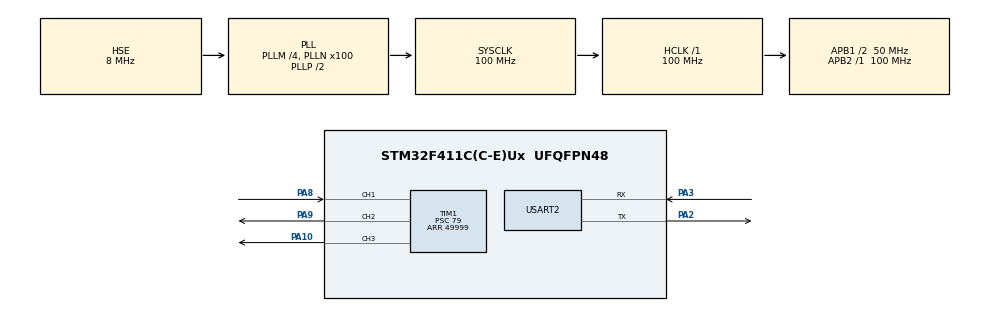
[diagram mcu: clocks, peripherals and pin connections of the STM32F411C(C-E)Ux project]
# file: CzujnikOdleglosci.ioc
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Mcu.Family=STM32F4
Mcu.Name=STM32F411C(C-E)Ux
Mcu.Package=UFQFPN48
NVIC.PriorityGroup=NVIC_PRIORITYGROUP_4
NVIC.TIM1_BRK_TIM9_IRQn=true\:0\:0\:false\:false\:true\:true\:true
NVIC.TIM1_CC_IRQn=true\:0\:0\:false\:false\:true\:true\:true
NVIC.TIM1_TRG_COM_TIM11_IRQn=true\:0\:0\:false\:false\:true\:true\:true
NVIC.TIM1_UP_TIM10_IRQn=true\:0\:0\:false\:false\:true\:true\:true
PA10.Signal=S_TIM1_CH3
PA2.Mode=Asynchronous
PA2.Signal=USART2_TX
PA3.Mode=Asynchronous
PA3.Signal=USART2_RX
PA8.Signal=S_TIM1_CH1
PA9.Signal=S_TIM1_CH2
PC14-OSC32_IN.Mode=LSE-External-Oscillator
PC14-OSC32_IN.Signal=RCC_OSC32_IN
PC15-OSC32_OUT.Mode=LSE-External-Oscillator
PC15-OSC32_OUT.Signal=RCC_OSC32_OUT
PH0\ -\ OSC_IN.Mode=HSE-External-Oscillator
PH0\ -\ OSC_IN.Signal=RCC_OSC_IN
PH1\ -\ OSC_OUT.Mode=HSE-External-Oscillator
PH1\ -\ OSC_OUT.Signal=RCC_OSC_OUT
ProjectManager.HeapSize=0x200
ProjectManager.StackSize=0x400
ProjectManager.TargetToolchain=STM32CubeIDE
RCC.48MHZClocksFreq_Value=50000000
RCC.AHBFreq_Value=100000000
RCC.APB1CLKDivider=RCC_HCLK_DIV2
RCC.APB1Freq_Value=50000000
RCC.APB1TimFreq_Value=100000000
RCC.APB2Freq_Value=100000000
RCC.APB2TimFreq_Value=100000000
RCC.CortexFreq_Value=100000000
RCC.HCLKFreq_Value=100000000
RCC.HSE_VALUE=8000000
RCC.HSI_VALUE=16000000
RCC.PLLM=4
RCC.PLLN=100
RCC.PLLSourceVirtual=RCC_PLLSOURCE_HSE
RCC.SYSCLKFreq_VALUE=100000000
RCC.SYSCLKSource=RCC_SYSCLKSOURCE_PLLCLK
RCC.VCOOutputFreq_Value=200000000
SH.S_TIM1_CH1.0=TIM1_CH1,Input_Capture1_from_TI1
SH.S_TIM1_CH2.0=TIM1_CH2,Output Compare2 CH2
SH.S_TIM1_CH3.0=TIM1_CH3,PWM Generation3 CH3
TIM1.Channel-Input_Capture1_from_TI1=TIM_CHANNEL_1
TIM1.Channel-Output\ Compare2\ CH2=TIM_CHANNEL_2
TIM1.Channel-PWM\ Generation3\ CH3=TIM_CHANNEL_3
TIM1.ICPolarity_CH1=TIM_INPUTCHANNELPOLARITY_BOTHEDGE
TIM1.Period=49999
TIM1.Prescaler=79
TIM10.Period=49999
TIM10.Prescaler=1999
USART2.VirtualMode=VM_ASYNC
VP_TIM10_VS_ClockSourceINT.Mode=Enable_Timer
VP_TIM1_VS_ClockSourceINT.Mode=Internal
board=custom

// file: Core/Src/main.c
/* USER CODE BEGIN Header */
/**
  ******************************************************************************
  * @file           : main.c
  * @brief          : Main program body
  ******************************************************************************
  * @attention
  *
  * <h2><center>&copy; Copyright (c) 2021 STMicroelectronics.
  * All rights reserved.</center></h2>
  *
  * This software component is licensed by ST under BSD 3-Clause license,
  * the "License"; You may not use this file except in compliance with the
  * License. You may obtain a copy of the License at:
  *                        opensource.org/licenses/BSD-3-Clause
  *
  ******************************************************************************
  */
/* USER CODE END Header */
#include "main.h"
#include "tim.h"
#include "usart.h"
#include "gpio.h"

/* USER CODE BEGIN PV */

float time = 0;
float d = 0;
int di = 0;
int Difference = 0;
char str[15];
uint8_t Is_First_Capture = 0;
int IC_Value1 = 0;
int IC_Value2 = 0;

float rest = 0;
int TurnInt = 0;
/* USER CODE END PV */

void SystemClock_Config(void);

int main(void)
{

  /* MCU Configuration--------------------------------------------------------*/

  /* Reset of all peripherals, Initializes the Flash interface and the Systick. */
  HAL_Init();

  /* Configure the system clock */
  SystemClock_Config();

  /* Initialize all configured peripherals */
  MX_GPIO_Init();
  MX_TIM1_Init();
  MX_TIM10_Init();
  MX_USART2_UART_Init();
  /* USER CODE BEGIN 2 */

  HAL_TIM_PWM_Start(&htim1, TIM_CHANNEL_3);	//initialization starting PWM
  __HAL_TIM_SET_COMPARE(&htim1, TIM_CHANNEL_3, 13); //high state: 10 us

  HAL_TIM_Base_Start_IT(&htim10); //initialization TIM10 period interrupt

  HAL_TIM_IC_Start_IT(&htim1, TIM_CHANNEL_1);	//initialization capturing in TIM1 channel_1

  /* USER CODE END 2 */

  /* Infinite loop */
  while (1)
  {

  }
}

void SystemClock_Config(void)
{
  RCC_OscInitTypeDef RCC_OscInitStruct = {0};
  RCC_ClkInitTypeDef RCC_ClkInitStruct = {0};

  /** Configure the main internal regulator output voltage
  */
  __HAL_RCC_PWR_CLK_ENABLE();
  __HAL_PWR_VOLTAGESCALING_CONFIG(PWR_REGULATOR_VOLTAGE_SCALE1);
  /** Initializes the RCC Oscillators according to the specified parameters
  * in the RCC_OscInitTypeDef structure.
  */
  RCC_OscInitStruct.OscillatorType = RCC_OSCILLATORTYPE_HSE;
  RCC_OscInitStruct.HSEState = RCC_HSE_ON;
  RCC_OscInitStruct.PLL.PLLState = RCC_PLL_ON;
  RCC_OscInitStruct.PLL.PLLSource = RCC_PLLSOURCE_HSE;
  RCC_OscInitStruct.PLL.PLLM = 4;
  RCC_OscInitStruct.PLL.PLLN = 100;
  RCC_OscInitStruct.PLL.PLLP = RCC_PLLP_DIV2;
  RCC_OscInitStruct.PLL.PLLQ = 4;
  if (HAL_RCC_OscConfig(&RCC_OscInitStruct) != HAL_OK)
  {
    Error_Handler();
  }
  /** Initializes the CPU, AHB and APB buses clocks
  */
  RCC_ClkInitStruct.ClockType = RCC_CLOCKTYPE_HCLK|RCC_CLOCKTYPE_SYSCLK
                              |RCC_CLOCKTYPE_PCLK1|RCC_CLOCKTYPE_PCLK2;
  RCC_ClkInitStruct.SYSCLKSource = RCC_SYSCLKSOURCE_PLLCLK;
  RCC_ClkInitStruct.AHBCLKDivider = RCC_SYSCLK_DIV1;
  RCC_ClkInitStruct.APB1CLKDivider = RCC_HCLK_DIV2;
  RCC_ClkInitStruct.APB2CLKDivider = RCC_HCLK_DIV1;

  if (HAL_RCC_ClockConfig(&RCC_ClkInitStruct, FLASH_LATENCY_3) != HAL_OK)
  {
    Error_Handler();
  }
}

/* USER CODE BEGIN 4 */

void HAL_TIM_PeriodElapsedCallback(TIM_HandleTypeDef *htim) //Timer interrupt every 1 [s]
{
	time = (Difference * 40000)/50000; //time in [us]
	d = time / 58;
	di = (int)(d);
	rest = d-di;
	TurnInt = trunc(rest * 100);

	sprintf(str, "%d,%d [cm] \r\n", di, TurnInt);		//change int variable to char

	if (  HAL_UART_Transmit(&huart2, (char*)str, (size_t)sizeof(str), 100) != HAL_OK)		//transmit via USART
	{
		Error_Handler();
	}

	//printf("%f", d);

}

void HAL_TIM_IC_CaptureCallback(TIM_HandleTypeDef *htim)
{
	if (Is_First_Capture == 0)
	{
		IC_Value1 = HAL_TIM_ReadCapturedValue(htim, TIM_CHANNEL_1); //write the first captured value
		Is_First_Capture = 1;
	}

	else if (Is_First_Capture == 1)
	{
		IC_Value2 = HAL_TIM_ReadCapturedValue(htim, TIM_CHANNEL_1); //write the second captured value
		if (IC_Value2 > IC_Value1) 	//the second value is higher than the first
		{
			Difference = IC_Value2 - IC_Value1; //count difference
		}
		else if (IC_Value2 < IC_Value1)		//the second value is higher
		{
			Difference = (50000 - IC_Value1) + IC_Value2;	//count diff
		}

		Is_First_Capture = 0;	//reset captured values

	}
	else
	{
		Error_Handler();
	}
}

//void HAL_GPIO_EXTI_Callback(uint16_t GPIO_Pin) //interrupt
//{
//}

/* USER CODE END 4 */

void Error_Handler(void)
{
}

/************************ (C) COPYRIGHT STMicroelectronics *****END OF FILE****/
